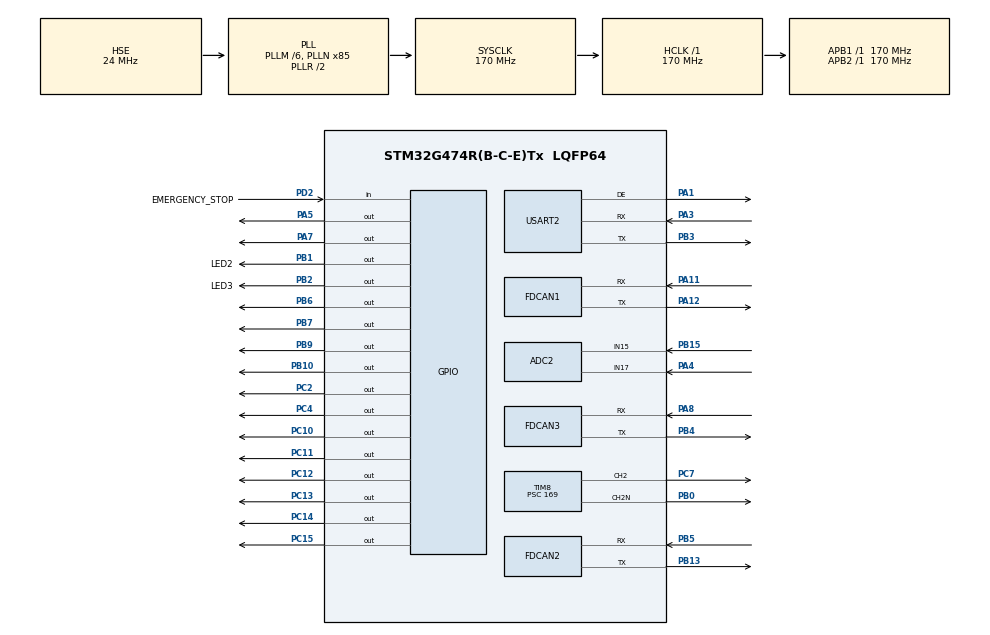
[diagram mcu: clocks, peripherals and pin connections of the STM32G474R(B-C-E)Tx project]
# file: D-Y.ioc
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ADC2.Channel-0\#ChannelRegularConversion=ADC_CHANNEL_17
ADC2.Channel-1\#ChannelRegularConversion=ADC_CHANNEL_15
ADC2.ContinuousConvMode=ENABLE
ADC2.DMAContinuousRequests=ENABLE
ADC2.EnableAnalogWatchDog1=false
ADC2.EnableAnalogWatchDog3=false
ADC2.NbrOfConversion=2
ADC2.NbrOfConversionFlag=1
ADC2.OffsetNumber-0\#ChannelRegularConversion=ADC_OFFSET_NONE
ADC2.OffsetNumber-1\#ChannelRegularConversion=ADC_OFFSET_NONE
ADC2.Rank-0\#ChannelRegularConversion=1
ADC2.Rank-1\#ChannelRegularConversion=2
ADC2.SamplingTime-0\#ChannelRegularConversion=ADC_SAMPLETIME_247CYCLES_5
ADC2.SamplingTime-1\#ChannelRegularConversion=ADC_SAMPLETIME_247CYCLES_5
Dma.ADC2.0.Direction=DMA_PERIPH_TO_MEMORY
Dma.ADC2.0.EventEnable=DISABLE
Dma.ADC2.0.Instance=DMA1_Channel2
Dma.ADC2.0.MemDataAlignment=DMA_MDATAALIGN_HALFWORD
Dma.ADC2.0.MemInc=DMA_MINC_ENABLE
Dma.ADC2.0.Mode=DMA_CIRCULAR
Dma.ADC2.0.PeriphDataAlignment=DMA_PDATAALIGN_HALFWORD
Dma.ADC2.0.PeriphInc=DMA_PINC_DISABLE
Dma.ADC2.0.Polarity=HAL_DMAMUX_REQ_GEN_RISING
Dma.ADC2.0.Priority=DMA_PRIORITY_LOW
Dma.ADC2.0.RequestNumber=1
Dma.ADC2.0.SignalID=NONE
Dma.ADC2.0.SyncEnable=DISABLE
Dma.ADC2.0.SyncPolarity=HAL_DMAMUX_SYNC_NO_EVENT
Dma.ADC2.0.SyncRequestNumber=1
Dma.ADC2.0.SyncSignalID=NONE
Dma.Request0=ADC2
FDCAN1.AutoRetransmission=ENABLE
FDCAN1.CalculateBaudRateNominal=249999
FDCAN1.CalculateTimeBitNominal=4000
FDCAN1.CalculateTimeQuantumNominal=235.29411764705884
FDCAN1.DataSyncJumpWidth=1
FDCAN1.ExtFiltersNbr=7
FDCAN1.NominalPrescaler=40
FDCAN1.NominalSyncJumpWidth=1
FDCAN1.NominalTimeSeg1=13
FDCAN1.NominalTimeSeg2=3
FDCAN1.StdFiltersNbr=1
FDCAN2.AutoRetransmission=ENABLE
FDCAN2.CalculateBaudRateNominal=249999
FDCAN2.CalculateTimeBitNominal=4000
FDCAN2.CalculateTimeQuantumNominal=235.29411764705884
FDCAN2.ExtFiltersNbr=8
FDCAN2.NominalPrescaler=40
FDCAN2.NominalTimeSeg1=13
FDCAN2.NominalTimeSeg2=3
FDCAN2.StdFiltersNbr=1
FDCAN3.AutoRetransmission=ENABLE
FDCAN3.CalculateBaudRateNominal=249999
FDCAN3.CalculateTimeBitNominal=4000
FDCAN3.CalculateTimeQuantumNominal=235.29411764705884
FDCAN3.ExtFiltersNbr=8
FDCAN3.NominalPrescaler=40
FDCAN3.NominalTimeSeg1=13
FDCAN3.NominalTimeSeg2=3
FDCAN3.StdFiltersNbr=1
Mcu.Family=STM32G4
Mcu.Name=STM32G474R(B-C-E)Tx
Mcu.Package=LQFP64
NVIC.DMA1_Channel2_IRQn=true\:0\:0\:false\:false\:true\:false\:true\:true
NVIC.FDCAN1_IT0_IRQn=true\:0\:0\:false\:false\:true\:true\:true\:true
NVIC.FDCAN1_IT1_IRQn=true\:0\:0\:false\:false\:true\:true\:true\:true
NVIC.FDCAN2_IT0_IRQn=true\:0\:0\:false\:false\:true\:true\:true\:true
NVIC.FDCAN2_IT1_IRQn=true\:0\:0\:false\:false\:true\:true\:true\:true
NVIC.FDCAN3_IT0_IRQn=true\:0\:0\:false\:false\:true\:true\:true\:true
NVIC.FDCAN3_IT1_IRQn=true\:0\:0\:false\:false\:true\:true\:true\:true
NVIC.PriorityGroup=NVIC_PRIORITYGROUP_4
PA1.Mode=Hardware Flow Control (RS485)
PA1.Signal=USART2_DE
PA11.Mode=FDCAN_Activate
PA11.Signal=FDCAN1_RX
PA12.Mode=FDCAN_Activate
PA12.Signal=FDCAN1_TX
PA13.Mode=Serial_Wire
PA13.Signal=SYS_JTMS-SWDIO
PA14.Mode=Serial_Wire
PA14.Signal=SYS_JTCK-SWCLK
PA3.Mode=Asynchronous
PA3.Signal=USART2_RX
PA4.Mode=IN17-Single-Ended
PA4.Signal=ADC2_IN17
PA5.Signal=GPIO_Output
PA7.PinState=GPIO_PIN_SET
PA7.Signal=GPIO_Output
PA8.Mode=FDCAN_Activate
PA8.Signal=FDCAN3_RX
PB0.Mode=PWM Generation2 CH2 CH2N
PB0.Signal=TIM8_CH2N
PB1.GPIO_Label=LED2
PB1.Signal=GPIO_Output
PB10.Signal=GPIO_Output
PB13.Mode=FDCAN_Activate
PB13.Signal=FDCAN2_TX
PB15.Mode=IN15-Single-Ended
PB15.Signal=ADC2_IN15
PB2.GPIO_Label=LED3
PB2.Signal=GPIO_Output
PB3.Mode=Asynchronous
PB3.Signal=USART2_TX
PB4.Mode=FDCAN_Activate
PB4.Signal=FDCAN3_TX
PB5.Mode=FDCAN_Activate
PB5.Signal=FDCAN2_RX
PB6.Signal=GPIO_Output
PB7.Signal=GPIO_Output
PB9.Signal=GPIO_Output
PC10.Signal=GPIO_Output
PC11.Signal=GPIO_Output
PC12.Signal=GPIO_Output
PC13.Signal=GPIO_Output
PC14-OSC32_IN.Signal=GPIO_Output
PC15-OSC32_OUT.Signal=GPIO_Output
PC2.Signal=GPIO_Output
PC4.PinState=GPIO_PIN_SET
PC4.Signal=GPIO_Output
PC7.Signal=S_TIM8_CH2
PD2.GPIO_Label=EMERGENCY_STOP
PD2.GPIO_PuPd=GPIO_PULLUP
PD2.Signal=GPIO_Input
PF0-OSC_IN.Mode=HSE-External-Oscillator
PF0-OSC_IN.Signal=RCC_OSC_IN
PF1-OSC_OUT.Mode=HSE-External-Oscillator
PF1-OSC_OUT.Signal=RCC_OSC_OUT
ProjectManager.HeapSize=0x200
ProjectManager.StackSize=0x400
ProjectManager.TargetToolchain=CMake
RCC.ADC12Freq_Value=170000000
RCC.ADC345Freq_Value=170000000
RCC.AHBFreq_Value=170000000
RCC.APB1Freq_Value=170000000
RCC.APB1TimFreq_Value=170000000
RCC.APB2Freq_Value=170000000
RCC.APB2TimFreq_Value=170000000
RCC.CortexFreq_Value=170000000
RCC.EXTERNAL_CLOCK_VALUE=12288000
RCC.HCLKFreq_Value=170000000
RCC.HSE_Timout=10
RCC.HSE_VALUE=24000000
RCC.HSI48_VALUE=48000000
RCC.HSICalibrationValue=24
RCC.HSI_VALUE=16000000
RCC.LSE_VALUE=32768
RCC.PLLM=RCC_PLLM_DIV6
RCC.PLLN=85
RCC.PLLQ=RCC_PLLQ_DIV8
RCC.PLLSourceVirtual=RCC_PLLSOURCE_HSE
RCC.SYSCLKFreq_VALUE=170000000
RCC.SYSCLKSource=RCC_SYSCLKSOURCE_PLLCLK
RCC.USBFreq_Value=42500000
RCC.VCOOutputFreq_Value=340000000
SH.S_TIM8_CH2.0=TIM8_CH2,PWM Generation2 CH2 CH2N
TIM8.Channel-PWM\ Generation2\ CH2\ CH2N=TIM_CHANNEL_2
TIM8.DeadTime=30
TIM8.OffStateIDLEMode=TIM_OSSI_ENABLE
TIM8.PeriodNoDither=99
TIM8.Prescaler=169
USART2.VirtualMode-Asynchronous=VM_ASYNC
USART2.VirtualMode-Hardware\ Flow\ Control\ (RS485)=VM_ASYNC
VP_SYS_VS_DBSignals.Mode=DisableDeadBatterySignals
VP_SYS_V_PVD_IN.Mode=Mode_PVD_Int
VP_TIM8_VS_ClockSourceINT.Mode=Internal
board=custom

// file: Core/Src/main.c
/* USER CODE BEGIN Header */
/**
  ******************************************************************************
  * @file           : main.c
  * @brief          : Main program body
  ******************************************************************************
  * @attention
  *
  * Copyright (c) 2026 STMicroelectronics.
  * All rights reserved.
  *
  * This software is licensed under terms that can be found in the LICENSE file
  * in the root directory of this software component.
  * If no LICENSE file comes with this software, it is provided AS-IS.
  *
  ******************************************************************************
  */
/* USER CODE END Header */
#include "main.h"
#include "adc.h"
#include "dma.h"
#include "fdcan.h"
#include "tim.h"
#include "usart.h"
#include "gpio.h"

void SystemClock_Config(void);

int main(void)
{

  /* USER CODE BEGIN 1 */
  SCB->VTOR = 0x08006000U;
  __enable_irq();
  Power_CheckAndHandleHotBoot();
  /* USER CODE END 1 */

  /* MCU Configuration--------------------------------------------------------*/

  /* Reset of all peripherals, Initializes the Flash interface and the Systick. */
  HAL_Init();

  /* Configure the system clock */
  SystemClock_Config();

  /* Initialize all configured peripherals */
  MX_GPIO_Init();
  MX_DMA_Init();
  MX_ADC2_Init();
  MX_FDCAN1_Init();
  MX_FDCAN2_Init();
  MX_FDCAN3_Init();
  MX_USART2_UART_Init();
  MX_TIM8_Init();
  /* USER CODE BEGIN 2 */
  ADC2_StartDMA();
#if POWER_VBUS_RELEASE_ENABLE
  HAL_TIM_PWM_Start(&htim8, TIM_CHANNEL_2);
  HAL_TIMEx_PWMN_Start(&htim8, TIM_CHANNEL_2);
  __HAL_TIM_MOE_DISABLE_UNCONDITIONALLY(&htim8);
  __HAL_TIM_SET_COMPARE(&htim8, TIM_CHANNEL_2, 0U);
#else
  /* 泄放功能完全禁用：上电不启动互补 PWM 通道，无条件关闭主输出 MOE 并将占空比置 0 */
  __HAL_TIM_MOE_DISABLE_UNCONDITIONALLY(&htim8);
  __HAL_TIM_SET_COMPARE(&htim8, TIM_CHANNEL_2, 0U);
#endif
  if (Power_IsHotBoot() == 0U)
  {
    HAL_Delay(20);
    ADC_CalibrateCurrentOffsets();
  }
  ADC_UpdateCurrents();
  ADC2_UpdateVbusVoltage();
  FDCAN_BatteryCanStart();
  Power_UpdateGpioDebugStates();//mos管的检测
  Power_EnterDischargeMode();//初始化双电池状态 (热接力时跳过预充平滑接管)
  Power_UpdateStatusIndicators();//正常上电后点亮声光指示灯（默认绿灯常亮）

  /* USER CODE END 2 */

  /* Infinite loop */
  while (1)
  {

    /* USER CODE BEGIN 3 */
    ADC_UpdateCurrents();//放电电流的更新
    ADC2_UpdateVbusVoltage();//母线VBUS电压更新
    Power_ModeTask();
    Power_UpdateGpioDebugStates();
    FDCAN_BatteryCanTask();
    Power_UpdateStatusIndicators();//声光状态指示与小脑控制响应
    FDCAN_CheckAndRecoverAllBusOff(); // ★ 纯异步执行恢复状态机
  }
  /* USER CODE END 3 */
}

void SystemClock_Config(void)
{
  RCC_OscInitTypeDef RCC_OscInitStruct = {0};
  RCC_ClkInitTypeDef RCC_ClkInitStruct = {0};

  /** Configure the main internal regulator output voltage
  */
  HAL_PWREx_ControlVoltageScaling(PWR_REGULATOR_VOLTAGE_SCALE1_BOOST);

  /** Initializes the RCC Oscillators according to the specified parameters
  * in the RCC_OscInitTypeDef structure.
  */
  RCC_OscInitStruct.OscillatorType = RCC_OSCILLATORTYPE_HSE;
  RCC_OscInitStruct.HSEState = RCC_HSE_ON;
  RCC_OscInitStruct.PLL.PLLState = RCC_PLL_ON;
  RCC_OscInitStruct.PLL.PLLSource = RCC_PLLSOURCE_HSE;
  RCC_OscInitStruct.PLL.PLLM = RCC_PLLM_DIV6;
  RCC_OscInitStruct.PLL.PLLN = 85;
  RCC_OscInitStruct.PLL.PLLP = RCC_PLLP_DIV2;
  RCC_OscInitStruct.PLL.PLLQ = RCC_PLLQ_DIV8;
  RCC_OscInitStruct.PLL.PLLR = RCC_PLLR_DIV2;
  if (HAL_RCC_OscConfig(&RCC_OscInitStruct) != HAL_OK)
  {
    Error_Handler();
  }

  /** Initializes the CPU, AHB and APB buses clocks
  */
  RCC_ClkInitStruct.ClockType = RCC_CLOCKTYPE_HCLK|RCC_CLOCKTYPE_SYSCLK
                              |RCC_CLOCKTYPE_PCLK1|RCC_CLOCKTYPE_PCLK2;
  RCC_ClkInitStruct.SYSCLKSource = RCC_SYSCLKSOURCE_PLLCLK;
  RCC_ClkInitStruct.AHBCLKDivider = RCC_SYSCLK_DIV1;
  RCC_ClkInitStruct.APB1CLKDivider = RCC_HCLK_DIV1;
  RCC_ClkInitStruct.APB2CLKDivider = RCC_HCLK_DIV1;

  if (HAL_RCC_ClockConfig(&RCC_ClkInitStruct, FLASH_LATENCY_4) != HAL_OK)
  {
    Error_Handler();
  }
}

void Error_Handler(void)
{
  __disable_irq();
  while (1)
  {
  }
}
